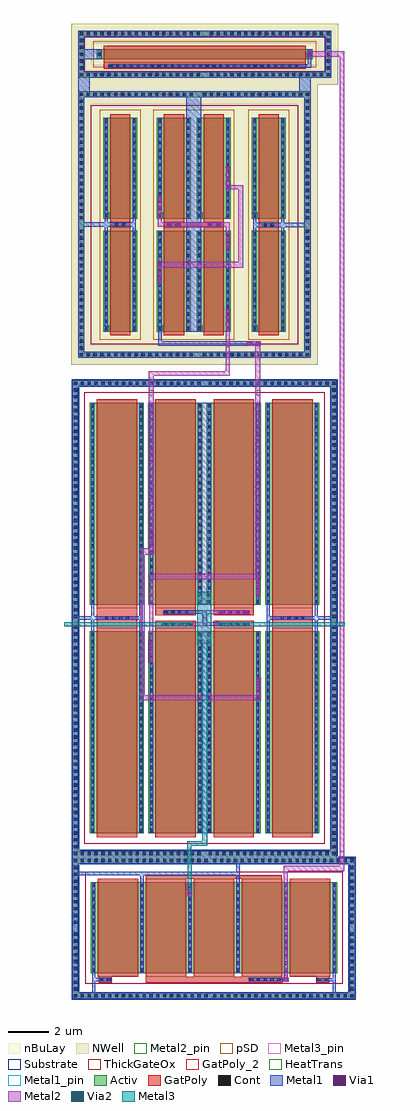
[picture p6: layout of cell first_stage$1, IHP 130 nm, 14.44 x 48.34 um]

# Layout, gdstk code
from math import pi, radians
import gdstk
lib = gdstk.Library(unit=1e-6, precision=1e-09)
def R(c, l, rs):  # rectangles x0, y0, x1, y1
    for r in rs: c.add(gdstk.rectangle(r[:2], r[2:], *l))
def A(c, l, x, y, w, h, nx, ny, dx, dy):  # array of equal rectangles
    R(c, l, [(x+i*dx, y+j*dy, x+i*dx+w, y+j*dy+h) for i in range(nx) for j in range(ny)])
def P(c, l, *ps):  # polygons
    for p in ps: c.add(gdstk.Polygon(p, *l))
Activ = (1, 0)
GatPoly = (5, 0)
GatPoly_2 = (5, 2)
Cont = (6, 0)
Metal1 = (8, 0)
Metal1_pin = (8, 2)
Metal2 = (10, 0)
Metal2_pin = (10, 2)
pSD = (14, 0)
Via1 = (19, 0)
Via2 = (29, 0)
Metal3 = (30, 0)
Metal3_pin = (30, 2)
NWell = (31, 0)
nBuLay = (32, 0)
Substrate = (40, 0)
ThickGateOx = (44, 0)
HeatTrans = (51, 0)

pmoshv_15 = lib.new_cell('pmosHV$15')
R(pmoshv_15, Activ, [(0,0,0.3,0.3), (0,0,1.68,5), (1.38,0,1.68,0.3)])
R(pmoshv_15, GatPoly, [(0.34,-0.18,1.34,5.18)])
R(pmoshv_15, GatPoly_2, [(0.34,-0.18,1.34,5.18)])
A(pmoshv_15, Cont, 0.07, 0.07, 0.16, 0.16, 1, 4, 0, 0.36)
A(pmoshv_15, Cont, 1.45, 0.07, 0.16, 0.16, 1, 4, 0, 0.36)
A(pmoshv_15, Cont, 0.07, 1.515, 0.16, 0.16, 1, 3, 0, 0.36)
A(pmoshv_15, Cont, 1.45, 1.515, 0.16, 0.16, 1, 3, 0, 0.36)
A(pmoshv_15, Cont, 0.07, 2.6, 0.16, 0.16, 1, 3, 0, 0.36)
A(pmoshv_15, Cont, 1.45, 2.6, 0.16, 0.16, 1, 3, 0, 0.36)
A(pmoshv_15, Cont, 0.07, 3.685, 0.16, 0.16, 1, 3, 0, 0.36)
A(pmoshv_15, Cont, 1.45, 3.685, 0.16, 0.16, 1, 3, 0, 0.36)
R(pmoshv_15, Cont, [(0.07,4.77,0.23,4.93), (1.45,4.77,1.61,4.93)])
R(pmoshv_15, Metal1, [(0.07,0,0.23,5), (1.45,0,1.61,5)])
R(pmoshv_15, Metal1_pin, [(0.07,0,0.23,5), (1.45,0,1.61,5)])
R(pmoshv_15, pSD, [(-0.18,-0.4,1.86,5.4)])
R(pmoshv_15, NWell, [(-0.62,-0.62,2.3,5.62)])
R(pmoshv_15, Substrate, [(1.38,0,1.68,0.3)])
R(pmoshv_15, ThickGateOx, [(-0.62,-0.62,2.3,5.62)])
R(pmoshv_15, HeatTrans, [(0.34,-0.18,1.34,5.18)])
pmoshv_15.add(gdstk.Label('pmosHV', (0.84,2.5), layer=63, texttype=0))
pmoshv_15.add(gdstk.Label('pmos', (0.84,2.5), layer=51, texttype=0))

via_stack_47 = lib.new_cell('via_stack$47')
R(via_stack_47, Metal1, [(-0.105,-0.555,0.105,0.555)])
R(via_stack_47, Metal2, [(-0.1,-0.555,0.1,0.555)])
A(via_stack_47, Via1, -0.095, -0.505, 0.19, 0.19, 1, 3, 0, 0.41)

via_stack_37 = lib.new_cell('via_stack$37')
R(via_stack_37, Metal1, [(-0.105,-0.35,0.105,0.35)])
R(via_stack_37, Metal2, [(-0.1,-0.35,0.1,0.35)])
R(via_stack_37, Via1, [(-0.095,-0.3,0.095,-0.11), (-0.095,0.11,0.095,0.3)])

via_stack_67 = lib.new_cell('via_stack$67')
R(via_stack_67, GatPoly, [(-0.32,-0.15,0.32,0.15)])
R(via_stack_67, Cont, [(-0.25,-0.08,-0.09,0.08), (0.09,-0.08,0.25,0.08)])
R(via_stack_67, Metal1, [(-0.35,-0.105,0.35,0.105)])
R(via_stack_67, Metal2, [(-0.35,-0.1,0.35,0.1)])
R(via_stack_67, Via1, [(-0.3,-0.095,-0.11,0.095), (0.11,-0.095,0.3,0.095)])

guard_ring_10 = lib.new_cell('guard_ring$10')
R(guard_ring_10, Activ, [(-5.75,-6.3,-5.45,6.3), (5.45,-6.3,5.75,6.3), (-5.75,6.3,5.75,6.6)])
P(guard_ring_10, Activ, [(-5.75,-6.6),(-5.75,6.3),(-5.45,6.3),(-5.45,-6.3),(5.45,-6.3),(5.45,6.3),(-5.75,6.3),(-5.75,6.6),(5.75,6.6),(5.75,-6.6)])
A(guard_ring_10, Cont, -5.68, -6.53, 0.16, 0.16, 16, 2, 0.34, 12.9)
A(guard_ring_10, Cont, 0.08, -6.53, 0.16, 0.16, 17, 2, 0.34, 12.9)
A(guard_ring_10, Cont, -5.68, -6.19, 0.16, 0.16, 1, 18, 0, 0.34)
A(guard_ring_10, Cont, 5.52, -6.19, 0.16, 0.16, 1, 18, 0, 0.34)
A(guard_ring_10, Cont, -5.68, 0.25, 0.16, 0.16, 1, 18, 0, 0.34)
A(guard_ring_10, Cont, 5.52, 0.25, 0.16, 0.16, 1, 18, 0, 0.34)
R(guard_ring_10, Metal1, [(-5.75,-6.6,5.75,-6.3), (-5.75,-6.3,-5.45,6.3), (5.45,-6.3,5.75,6.3), (-5.75,6.3,5.75,6.6)])
R(guard_ring_10, NWell, [(-6.1,-6.95,6.1,6.95)])
R(guard_ring_10, nBuLay, [(-6.1,-5.95,-5.1,5.95), (5.1,-5.95,6.1,5.95), (-6.1,5.95,6.1,6.95)])
P(guard_ring_10, nBuLay, [(-6.1,-6.95),(-6.1,5.95),(-5.1,5.95),(-5.1,-5.95),(5.1,-5.95),(5.1,5.95),(-6.1,5.95),(-6.1,6.95),(6.1,6.95),(6.1,-6.95)])
guard_ring_10.add(gdstk.Label('well', (0,-6.45), layer=63, texttype=0))

via_stack_68 = lib.new_cell('via_stack$68')
R(via_stack_68, GatPoly, [(-0.32,-0.15,0.32,0.15)])
R(via_stack_68, Cont, [(-0.25,-0.08,-0.09,0.08), (0.09,-0.08,0.25,0.08)])
R(via_stack_68, Metal1, [(-0.3,-0.08,0.3,0.08)])

current_mirror_1 = lib.new_cell('current_mirror$1')
R(current_mirror_1, GatPoly, [(-2.885,-0.54,-1.885,-0.315), (-0.225,-0.54,2.745,-0.315), (4.475,-0.54,5.475,-0.315)])
R(current_mirror_1, Metal1, [(0.885,-5.72,1.635,6.185), (-3.155,-0.72,-2.995,-0.135), (-1.775,-0.72,-1.615,-0.135), (4.205,-0.72,4.365,-0.135), (5.585,-0.72,5.745,-0.135), (4.205,-0.54,7.04,-0.32), (-4.46,-0.535,-1.615,-0.315)])
R(current_mirror_1, Metal2, [(2.845,-6.475,3.045,-4.575), (-0.535,-2.565,3.705,-2.255), (3.47,-2.565,3.705,1.53), (2.845,-1.62,3.045,-0.315), (-0.53,-0.535,3.045,-0.315), (-0.53,-0.535,-0.33,-0.13), (2.845,1.325,3.705,1.53)])
R(current_mirror_1, Metal2_pin, [(2.845,-6.475,3.045,-6.215)])
current_mirror_1.add(gdstk.Reference(pmoshv_15, (3.085,-0.135), rotation=pi, x_reflection=True))
current_mirror_1.add(gdstk.Reference(pmoshv_15, (1.115,-0.135), rotation=pi, x_reflection=True))
current_mirror_1.add(gdstk.Reference(pmoshv_15, (3.085,-5.72), rotation=pi, x_reflection=True))
current_mirror_1.add(gdstk.Reference(pmoshv_15, (1.115,-5.72), rotation=pi, x_reflection=True))
current_mirror_1.add(gdstk.Reference(via_stack_47, (-0.43,0.425), rotation=pi, x_reflection=True))
current_mirror_1.add(gdstk.Reference(via_stack_37, (2.945,-1.27), rotation=pi, x_reflection=True))
current_mirror_1.add(gdstk.Reference(via_stack_67, (2.27,-0.43), rotation=pi, x_reflection=True))
current_mirror_1.add(gdstk.Reference(via_stack_67, (0.26,-0.43), rotation=pi, x_reflection=True))
current_mirror_1.add(gdstk.Reference(via_stack_47, (-0.43,-2.81), rotation=pi, x_reflection=True))
current_mirror_1.add(gdstk.Reference(via_stack_47, (2.945,1.88), rotation=pi, x_reflection=True))
current_mirror_1.add(gdstk.Reference(guard_ring_10, (1.29,-0.415), rotation=pi, x_reflection=True))
current_mirror_1.add(gdstk.Reference(pmoshv_15, (-1.545,-0.135), rotation=pi, x_reflection=True))
current_mirror_1.add(gdstk.Reference(pmoshv_15, (5.815,-0.135), rotation=pi, x_reflection=True))
current_mirror_1.add(gdstk.Reference(pmoshv_15, (-1.545,-5.72), rotation=pi, x_reflection=True))
current_mirror_1.add(gdstk.Reference(pmoshv_15, (5.815,-5.72), rotation=pi, x_reflection=True))
current_mirror_1.add(gdstk.Reference(via_stack_68, (4.965,-0.43), rotation=pi, x_reflection=True))
current_mirror_1.add(gdstk.Reference(via_stack_68, (-2.395,-0.43), rotation=pi, x_reflection=True))
current_mirror_1.add(gdstk.Reference(via_stack_47, (2.945,-5.13), rotation=pi, x_reflection=True))
current_mirror_1.add(gdstk.Label('vdd', (1.025,6.115), layer=8, texttype=2))
current_mirror_1.add(gdstk.Label('dmv', (3.045,-6.475), layer=10, texttype=2))

via_stack_69 = lib.new_cell('via_stack$69')
R(via_stack_69, GatPoly, [(-0.15,-0.66,0.15,0.66)])
A(via_stack_69, Cont, -0.08, -0.59, 0.16, 0.16, 1, 4, 0, 0.34)
R(via_stack_69, Metal1, [(-0.105,-0.76,0.105,0.76)])
R(via_stack_69, Metal2, [(-0.1,-0.76,0.1,0.76)])
A(via_stack_69, Via1, -0.095, -0.71, 0.19, 0.19, 1, 4, 0, 0.41)
A(via_stack_69, Via2, -0.095, -0.71, 0.19, 0.19, 1, 4, 0, 0.41)
R(via_stack_69, Metal3, [(-0.1,-0.76,0.1,0.76)])

guard_ring_12 = lib.new_cell('guard_ring$12')
R(guard_ring_12, Activ, [(-6.55,-11.5,-6.25,11.5), (6.25,-11.5,6.55,11.5), (-6.55,11.5,6.55,11.8)])
P(guard_ring_12, Activ, [(-6.55,-11.8),(-6.55,11.5),(-6.25,11.5),(-6.25,-11.5),(6.25,-11.5),(6.25,11.5),(-6.55,11.5),(-6.55,11.8),(6.55,11.8),(6.55,-11.8)])
A(guard_ring_12, Cont, -6.48, -11.73, 0.16, 0.16, 19, 2, 0.34, 23.3)
A(guard_ring_12, Cont, 0.2, -11.73, 0.16, 0.16, 19, 2, 0.34, 23.3)
A(guard_ring_12, Cont, -6.48, -11.39, 0.16, 0.16, 1, 33, 0, 0.34)
A(guard_ring_12, Cont, 6.32, -11.39, 0.16, 0.16, 1, 33, 0, 0.34)
A(guard_ring_12, Cont, -6.48, 0.01, 0.16, 0.16, 1, 34, 0, 0.34)
A(guard_ring_12, Cont, 6.32, 0.01, 0.16, 0.16, 1, 34, 0, 0.34)
R(guard_ring_12, Metal1, [(-6.55,-11.8,6.55,-11.5), (-6.55,-11.5,-6.25,11.5), (6.25,-11.5,6.55,11.5), (-6.55,11.5,6.55,11.8)])
R(guard_ring_12, pSD, [(-6.58,-11.47,-6.22,11.47), (6.22,-11.47,6.58,11.47), (-6.58,11.47,6.58,11.83)])
P(guard_ring_12, pSD, [(-6.58,-11.83),(-6.58,11.47),(-6.22,11.47),(-6.22,-11.47),(6.22,-11.47),(6.22,11.47),(-6.58,11.47),(-6.58,11.83),(6.58,11.83),(6.58,-11.83)])
R(guard_ring_12, Substrate, [(-6.58,-11.47,-6.22,11.47), (6.22,-11.47,6.58,11.47), (-6.58,11.47,6.58,11.83)])
P(guard_ring_12, Substrate, [(-6.58,-11.83),(-6.58,11.47),(-6.22,11.47),(-6.22,-11.47),(6.22,-11.47),(6.22,11.47),(-6.58,11.47),(-6.58,11.83),(6.58,11.83),(6.58,-11.83)])
guard_ring_12.add(gdstk.Label('sub!', (0,-11.65), layer=63, texttype=0))

via_stack_70 = lib.new_cell('via_stack$70')
R(via_stack_70, GatPoly, [(-0.66,-0.15,0.66,0.15)])
A(via_stack_70, Cont, -0.59, -0.08, 0.16, 0.16, 4, 1, 0.34, 0)
R(via_stack_70, Metal1, [(-0.64,-0.08,0.64,0.08)])

nmoshv_9 = lib.new_cell('nmosHV$9')
R(nmoshv_9, Activ, [(0,0,0.3,0.3), (0,0,2.68,10), (2.38,0,2.68,0.3)])
R(nmoshv_9, GatPoly, [(0.34,-0.18,2.34,10.18)])
R(nmoshv_9, GatPoly_2, [(0.34,-0.18,2.34,10.18)])
A(nmoshv_9, Cont, 0.07, 0.07, 0.16, 0.16, 1, 4, 0, 0.345)
A(nmoshv_9, Cont, 2.45, 0.07, 0.16, 0.16, 1, 4, 0, 0.345)
A(nmoshv_9, Cont, 0.07, 1.455, 0.16, 0.16, 1, 3, 0, 0.345)
A(nmoshv_9, Cont, 2.45, 1.455, 0.16, 0.16, 1, 3, 0, 0.345)
A(nmoshv_9, Cont, 0.07, 2.495, 0.16, 0.16, 1, 4, 0, 0.345)
A(nmoshv_9, Cont, 2.45, 2.495, 0.16, 0.16, 1, 4, 0, 0.345)
A(nmoshv_9, Cont, 0.07, 3.88, 0.16, 0.16, 1, 3, 0, 0.345)
A(nmoshv_9, Cont, 2.45, 3.88, 0.16, 0.16, 1, 3, 0, 0.345)
A(nmoshv_9, Cont, 0.07, 4.92, 0.16, 0.16, 1, 4, 0, 0.345)
A(nmoshv_9, Cont, 2.45, 4.92, 0.16, 0.16, 1, 4, 0, 0.345)
A(nmoshv_9, Cont, 0.07, 6.305, 0.16, 0.16, 1, 3, 0, 0.345)
A(nmoshv_9, Cont, 2.45, 6.305, 0.16, 0.16, 1, 3, 0, 0.345)
A(nmoshv_9, Cont, 0.07, 7.345, 0.16, 0.16, 1, 4, 0, 0.345)
A(nmoshv_9, Cont, 2.45, 7.345, 0.16, 0.16, 1, 4, 0, 0.345)
A(nmoshv_9, Cont, 0.07, 8.73, 0.16, 0.16, 1, 3, 0, 0.345)
A(nmoshv_9, Cont, 2.45, 8.73, 0.16, 0.16, 1, 3, 0, 0.345)
R(nmoshv_9, Cont, [(0.07,9.77,0.23,9.93), (2.45,9.77,2.61,9.93)])
R(nmoshv_9, Metal1, [(0.07,0,0.23,10), (2.45,0,2.61,10)])
R(nmoshv_9, Metal1_pin, [(0.07,0,0.23,10), (2.45,0,2.61,10)])
R(nmoshv_9, ThickGateOx, [(-0.27,-0.52,2.95,10.52)])
R(nmoshv_9, HeatTrans, [(0.34,-0.18,2.34,10.18)])
nmoshv_9.add(gdstk.Label('nmosHV', (1.34,5), layer=63, texttype=0))
nmoshv_9.add(gdstk.Label('nmosHV', (1.34,5), layer=51, texttype=0))

via_stack_71 = lib.new_cell('via_stack$71')
R(via_stack_71, Metal1, [(-0.35,-0.31,0.35,0.31)])
R(via_stack_71, Metal2, [(-0.35,-0.305,0.35,0.305)])
R(via_stack_71, Via1, [(-0.3,-0.3,-0.11,-0.11), (0.11,-0.3,0.3,-0.11), (-0.3,0.11,-0.11,0.3), (0.11,0.11,0.3,0.3)])
R(via_stack_71, Via2, [(-0.3,-0.3,-0.11,-0.11), (0.11,-0.3,0.3,-0.11), (-0.3,0.11,-0.11,0.3), (0.11,0.11,0.3,0.3)])
R(via_stack_71, Metal3, [(-0.35,-0.305,0.35,0.305)])

via_stack_72 = lib.new_cell('via_stack$72')
R(via_stack_72, GatPoly, [(-0.66,-0.15,0.66,0.15)])
A(via_stack_72, Cont, -0.59, -0.08, 0.16, 0.16, 4, 1, 0.34, 0)
R(via_stack_72, Metal1, [(-0.76,-0.105,0.76,0.105)])
R(via_stack_72, Metal2, [(-0.76,-0.1,0.76,0.1)])
A(via_stack_72, Via1, -0.71, -0.095, 0.19, 0.19, 4, 1, 0.41, 0)
A(via_stack_72, Via2, -0.71, -0.095, 0.19, 0.19, 4, 1, 0.41, 0)
R(via_stack_72, Metal3, [(-0.76,-0.1,0.76,0.1)])

via_stack_73 = lib.new_cell('via_stack$73')
R(via_stack_73, GatPoly, [(-0.15,-0.66,0.15,0.66)])
A(via_stack_73, Cont, -0.08, -0.59, 0.16, 0.16, 1, 4, 0, 0.34)
R(via_stack_73, Metal1, [(-0.105,-0.76,0.105,0.76)])
R(via_stack_73, Metal2, [(-0.1,-0.76,0.1,0.76)])
A(via_stack_73, Via1, -0.095, -0.71, 0.19, 0.19, 1, 4, 0, 0.41)

via_stack_74 = lib.new_cell('via_stack$74')
R(via_stack_74, GatPoly, [(-0.15,-0.66,0.15,0.66)])
A(via_stack_74, Cont, -0.08, -0.59, 0.16, 0.16, 1, 4, 0, 0.34)
R(via_stack_74, Metal1, [(-0.08,-0.64,0.08,0.64)])

diff_pairs_1 = lib.new_cell('diff_pairs$1')
R(diff_pairs_1, GatPoly, [(-1.775,10.885,0.225,11.85), (1.125,10.885,3.125,11.225), (4.015,10.885,6.015,11.225), (6.915,10.885,8.915,11.85), (4.015,10.9,6.015,11.24), (1.125,11.51,3.125,11.85), (4.01,11.51,6.01,11.85)])
R(diff_pairs_1, Metal1, [(3.235,0.705,3.905,10.705), (-2.045,10.705,-1.885,12.03), (0.335,10.705,0.495,12.03), (6.645,10.705,6.805,12.03), (9.025,10.705,9.185,12.03), (3.465,10.97,3.66,11.745), (1.36,10.995,3.66,11.155), (-2.935,11.295,-2.045,11.455), (-2.045,11.295,0.495,11.455), (6.645,11.295,7.265,11.455), (8.545,11.295,9.185,11.455), (9.185,11.295,10.065,11.455), (3.465,11.575,5.575,11.755), (3.235,12.03,3.905,22.03)])
R(diff_pairs_1, Metal2, [(0.81,7.31,1.03,7.545), (0.815,7.31,6.73,7.545), (6.53,7.31,6.73,14.82), (6.12,10.03,6.32,13.56), (3.445,10.97,5.685,11.17), (3.445,10.97,3.685,11.765), (1.34,11.565,3.685,11.765), (0.805,13.3,1.065,22.66), (0.805,13.3,6.32,13.56), (6.09,14.5,6.335,22.64), (6.12,14.5,6.73,14.82)])
R(diff_pairs_1, Metal2_pin, [(0.805,22.405,1.065,22.66), (6.09,22.405,6.335,22.64)])
R(diff_pairs_1, Metal3, [(3.235,10.09,3.935,12.665), (4.275,10.96,10.52,11.17), (-3.375,10.97,2.88,11.17)])
R(diff_pairs_1, Metal3_pin, [(3.4,10.715,3.73,10.915), (10.21,10.96,10.52,11.17), (-3.375,10.97,-3.09,11.17)])
R(diff_pairs_1, ThickGateOx, [(-2.385,10.55,9.525,12.26)])
diff_pairs_1.add(gdstk.Reference(via_stack_69, (2.12,11.07), rotation=pi/2))
diff_pairs_1.add(gdstk.Reference(guard_ring_12, (3.565,11.355)))
diff_pairs_1.add(gdstk.Reference(via_stack_70, (7.905,11.375)))
diff_pairs_1.add(gdstk.Reference(via_stack_70, (-0.785,11.375)))
diff_pairs_1.add(gdstk.Reference(nmoshv_9, (-2.115,0.705)))
diff_pairs_1.add(gdstk.Reference(nmoshv_9, (-2.115,12.03)))
diff_pairs_1.add(gdstk.Reference(nmoshv_9, (6.575,0.705)))
diff_pairs_1.add(gdstk.Reference(nmoshv_9, (6.575,12.025)))
diff_pairs_1.add(gdstk.Reference(nmoshv_9, (3.675,12.03)))
diff_pairs_1.add(gdstk.Reference(via_stack_47, (6.22,15.055)))
diff_pairs_1.add(gdstk.Reference(via_stack_47, (0.915,7.865)))
diff_pairs_1.add(gdstk.Reference(via_stack_47, (6.22,9.705)))
diff_pairs_1.add(gdstk.Reference(via_stack_47, (0.935,13.03)))
diff_pairs_1.add(gdstk.Reference(via_stack_71, (3.585,10.395)))
diff_pairs_1.add(gdstk.Reference(via_stack_71, (3.585,12.36)))
diff_pairs_1.add(gdstk.Reference(via_stack_72, (4.925,11.065), rotation=pi))
diff_pairs_1.add(gdstk.Reference(nmoshv_9, (0.785,0.705)))
diff_pairs_1.add(gdstk.Reference(nmoshv_9, (3.675,0.705)))
diff_pairs_1.add(gdstk.Reference(nmoshv_9, (0.785,12.03)))
diff_pairs_1.add(gdstk.Reference(via_stack_73, (2.12,11.66), rotation=pi/2))
diff_pairs_1.add(gdstk.Reference(via_stack_74, (4.97,11.66), rotation=pi/2))
diff_pairs_1.add(gdstk.Label('vss', (3.925,23.09), layer=8, texttype=2))
diff_pairs_1.add(gdstk.Label('dmr', (0.88,22.66), layer=10, texttype=2))
diff_pairs_1.add(gdstk.Label('dmv', (6.21,22.64), layer=10, texttype=2))
diff_pairs_1.add(gdstk.Label('VBG', (10.425,11.055), layer=30, texttype=2))
diff_pairs_1.add(gdstk.Label('vn1v2', (-3.315,11.02), layer=30, texttype=2))
diff_pairs_1.add(gdstk.Label('d_t', (3.46,10.915), layer=30, texttype=2))

via_stack_52 = lib.new_cell('via_stack$52')
R(via_stack_52, Metal1, [(-0.145,-0.105,0.145,0.105)])
R(via_stack_52, Metal2, [(-0.145,-0.1,0.145,0.1)])
R(via_stack_52, Via1, [(-0.095,-0.095,0.095,0.095)])

guard_ring_13 = lib.new_cell('guard_ring$13')
R(guard_ring_13, Activ, [(-7,-3.2,-6.7,3.2), (6.7,-3.2,7,3.2), (-7,3.2,7,3.5)])
P(guard_ring_13, Activ, [(-7,-3.5),(-7,3.2),(-6.7,3.2),(-6.7,-3.2),(6.7,-3.2),(6.7,3.2),(-7,3.2),(-7,3.5),(7,3.5),(7,-3.5)])
A(guard_ring_13, Cont, -6.93, -3.43, 0.16, 0.16, 20, 2, 0.34, 6.7)
A(guard_ring_13, Cont, -0.03, -3.43, 0.16, 0.16, 21, 2, 0.34, 6.7)
A(guard_ring_13, Cont, -6.93, -3.09, 0.16, 0.16, 1, 9, 0, 0.34)
A(guard_ring_13, Cont, 6.77, -3.09, 0.16, 0.16, 1, 9, 0, 0.34)
A(guard_ring_13, Cont, -6.93, 0.21, 0.16, 0.16, 1, 9, 0, 0.34)
A(guard_ring_13, Cont, 6.77, 0.21, 0.16, 0.16, 1, 9, 0, 0.34)
R(guard_ring_13, Metal1, [(-7,-3.5,7,-3.2), (-7,-3.2,-6.7,3.2), (6.7,-3.2,7,3.2), (-7,3.2,7,3.5)])
R(guard_ring_13, pSD, [(-7.03,-3.17,-6.67,3.17), (6.67,-3.17,7.03,3.17), (-7.03,3.17,7.03,3.53)])
P(guard_ring_13, pSD, [(-7.03,-3.53),(-7.03,3.17),(-6.67,3.17),(-6.67,-3.17),(6.67,-3.17),(6.67,3.17),(-7.03,3.17),(-7.03,3.53),(7.03,3.53),(7.03,-3.53)])
R(guard_ring_13, Substrate, [(-7.03,-3.17,-6.67,3.17), (6.67,-3.17,7.03,3.17), (-7.03,3.17,7.03,3.53)])
P(guard_ring_13, Substrate, [(-7.03,-3.53),(-7.03,3.17),(-6.67,3.17),(-6.67,-3.17),(6.67,-3.17),(6.67,3.17),(-7.03,3.17),(-7.03,3.53),(7.03,3.53),(7.03,-3.53)])
guard_ring_13.add(gdstk.Label('sub!', (0,-3.35), layer=63, texttype=0))

via_stack_75 = lib.new_cell('via_stack$75')
R(via_stack_75, Metal1, [(-0.145,-0.105,0.145,0.105)])
R(via_stack_75, Metal2, [(-0.145,-0.1,0.145,0.1)])
R(via_stack_75, Via1, [(-0.095,-0.095,0.095,0.095)])
R(via_stack_75, Via2, [(-0.095,-0.095,0.095,0.095)])
R(via_stack_75, Metal3, [(-0.145,-0.1,0.145,0.1)])

via_stack_76 = lib.new_cell('via_stack$76')
R(via_stack_76, GatPoly, [(-0.83,-0.15,0.83,0.15)])
A(via_stack_76, Cont, -0.76, -0.08, 0.16, 0.16, 5, 1, 0.34, 0)
R(via_stack_76, Metal1, [(-0.81,-0.08,0.81,0.08)])

nmoshv_10 = lib.new_cell('nmosHV$10')
A(nmoshv_10, Activ, 0, 0, 0.3, 0.3, 6, 1, 2.38, 0)
R(nmoshv_10, Activ, [(0,0,12.2,4.5)])
A(nmoshv_10, GatPoly, 0.34, -0.18, 2, 4.86, 5, 1, 2.38, 0)
R(nmoshv_10, GatPoly_2, [(0.34,-0.18,2.34,4.68)])
A(nmoshv_10, Cont, 0.07, 0.07, 0.16, 0.16, 6, 13, 2.38, 0.35)
A(nmoshv_10, Metal1, 0.07, 0, 0.16, 4.5, 6, 1, 2.38, 0)
R(nmoshv_10, Metal1_pin, [(0.07,0,0.23,4.5), (2.45,0,2.61,4.5)])
R(nmoshv_10, ThickGateOx, [(-0.27,-0.52,12.47,5.02)])
A(nmoshv_10, HeatTrans, 0.34, -0.18, 2, 4.86, 5, 1, 2.38, 0)
nmoshv_10.add(gdstk.Label('nmosHV', (1.34,2.25), layer=63, texttype=0))
nmoshv_10.add(gdstk.Label('nmosHV', (1.34,2.25), layer=51, texttype=0))
nmoshv_10.add(gdstk.Label('nmosHV', (3.72,2.25), layer=51, texttype=0))
nmoshv_10.add(gdstk.Label('nmosHV', (6.1,2.25), layer=51, texttype=0))
nmoshv_10.add(gdstk.Label('nmosHV', (8.48,2.25), layer=51, texttype=0))
nmoshv_10.add(gdstk.Label('nmosHV', (10.86,2.25), layer=51, texttype=0))

bias_cur_1 = lib.new_cell('bias_cur$1')
R(bias_cur_1, GatPoly, [(3.235,-0.23,9.995,0.07), (11.68,0.04,12.32,0.09), (3.235,4.93,9.975,5.085)])
R(bias_cur_1, Metal1, [(0.585,-1.03,0.745,0.255), (12.485,-1.03,12.645,0.255), (10.105,-0.18,10.265,0.48), (12.3,-0.16,12.645,0), (0.585,-0.155,0.92,0.005), (9.955,-0.155,10.245,0.005), (7.725,4.675,7.885,5.26), (2.965,4.68,3.125,5.26), (-0.395,5.1,7.865,5.26), (7.72,5.26,7.885,5.97)])
R(bias_cur_1, Metal2, [(10.065,-0.185,10.265,5.56), (5.295,4.065,5.55,4.75), (10.065,5.29,12.855,5.56), (12.855,5.29,13.055,6.285)])
R(bias_cur_1, Metal2_pin, [(12.855,6.015,13.055,6.285)])
R(bias_cur_1, Metal3, [(5.325,4.375,5.525,6.3)])
R(bias_cur_1, Metal3_pin, [(5.325,6.015,5.525,6.3)])
bias_cur_1.add(gdstk.Reference(via_stack_52, (10.165,-0.08)))
bias_cur_1.add(gdstk.Reference(guard_ring_13, (6.605,2.47)))
bias_cur_1.add(gdstk.Reference(via_stack_75, (5.425,4.55), rotation=pi/2))
bias_cur_1.add(gdstk.Reference(via_stack_68, (12,-0.08)))
bias_cur_1.add(gdstk.Reference(via_stack_76, (9.15,-0.075)))
bias_cur_1.add(gdstk.Reference(via_stack_68, (1.22,-0.075)))
bias_cur_1.add(gdstk.Reference(nmoshv_10, (0.515,0.25)))
bias_cur_1.add(gdstk.Label('vss', (7.415,5.9), layer=8, texttype=2))
bias_cur_1.add(gdstk.Label('d_t', (5.325,6.015), layer=44, texttype=0))
bias_cur_1.add(gdstk.Label('i_ref', (13.055,6.29), layer=10, texttype=2))
bias_cur_1.add(gdstk.Label('d_t', (5.325,6.015), layer=30, texttype=2))

via_stack_77 = lib.new_cell('via_stack$77')
R(via_stack_77, GatPoly, [(-4.74,-0.15,4.74,0.15)])
A(via_stack_77, Cont, -4.67, -0.08, 0.16, 0.16, 28, 1, 0.34, 0)
R(via_stack_77, Metal1, [(-4.72,-0.08,4.72,0.08)])

pmoshv_16 = lib.new_cell('pmosHV$16')
R(pmoshv_16, Activ, [(-0.92,-0.62,-0.62,1.12), (11.3,-0.62,11.6,1.12), (0,0,0.3,0.3), (0,0,10.68,0.5), (10.38,0,10.68,0.3), (-0.92,1.12,11.6,1.42)])
P(pmoshv_16, Activ, [(-0.92,-0.92),(-0.92,1.12),(-0.62,1.12),(-0.62,-0.62),(11.3,-0.62),(11.3,1.12),(-0.92,1.12),(-0.92,1.42),(11.6,1.42),(11.6,-0.92)])
R(pmoshv_16, GatPoly, [(0.34,-0.18,10.34,0.68)])
R(pmoshv_16, GatPoly_2, [(0.34,-0.18,10.34,0.68)])
A(pmoshv_16, Cont, -0.85, -0.85, 0.16, 0.16, 18, 2, 0.34, 2.04)
A(pmoshv_16, Cont, 5.59, -0.85, 0.16, 0.16, 18, 2, 0.34, 2.04)
A(pmoshv_16, Cont, -0.85, -0.51, 0.16, 0.16, 1, 5, 0, 0.34)
A(pmoshv_16, Cont, 11.37, -0.51, 0.16, 0.16, 1, 5, 0, 0.34)
R(pmoshv_16, Cont, [(0.07,0.17,0.23,0.33), (10.45,0.17,10.61,0.33)])
R(pmoshv_16, Metal1, [(-0.92,-0.92,11.6,-0.62), (-0.92,-0.62,-0.62,1.12), (11.3,-0.62,11.6,1.12), (0.07,0,0.23,0.5), (10.45,0,10.61,0.5), (-0.92,1.12,11.6,1.42)])
R(pmoshv_16, Metal1_pin, [(0.07,0,0.23,0.5), (10.45,0,10.61,0.5)])
R(pmoshv_16, pSD, [(-0.18,-0.4,10.86,0.9)])
R(pmoshv_16, NWell, [(-1.27,-1.27,11.95,1.77), (-0.62,-0.62,11.3,1.12)])
R(pmoshv_16, nBuLay, [(-1.27,-0.27,-0.27,0.77), (10.95,-0.27,11.95,0.77), (-1.27,0.77,11.95,1.77)])
P(pmoshv_16, nBuLay, [(-1.27,-1.27),(-1.27,0.77),(-0.27,0.77),(-0.27,-0.27),(10.95,-0.27),(10.95,0.77),(-1.27,0.77),(-1.27,1.77),(11.95,1.77),(11.95,-1.27)])
R(pmoshv_16, Substrate, [(10.38,0,10.68,0.3)])
R(pmoshv_16, ThickGateOx, [(-0.62,-0.62,11.3,1.12)])
R(pmoshv_16, HeatTrans, [(0.34,-0.18,10.34,0.68)])
pmoshv_16.add(gdstk.Label('pmosHV', (5.34,0.25), layer=63, texttype=0))
pmoshv_16.add(gdstk.Label('well', (5.34,-0.77), layer=63, texttype=0))
pmoshv_16.add(gdstk.Label('pmos', (5.34,0.25), layer=51, texttype=0))

connected_diode_1 = lib.new_cell('connected_diode$1')
R(connected_diode_1, GatPoly, [(-0.21,-0.72,9.79,-0.42)])
R(connected_diode_1, Metal1, [(9.305,-0.65,10.06,-0.49), (9.9,-0.65,10.06,-0.24), (-1.47,-0.245,-0.32,0.26)])
connected_diode_1.add(gdstk.Reference(via_stack_77, (4.73,-0.57)))
connected_diode_1.add(gdstk.Reference(pmoshv_16, (-0.55,-0.24)))

first_stage_1 = lib.new_cell('first_stage$1')
R(first_stage_1, Activ, [(0.06,6.985,13.16,7.03)])
R(first_stage_1, Metal1, [(0.06,6.985,13.16,7.03), (4.315,32.34,9.39,32.55), (4.315,32.34,4.475,33.33), (11.285,44.635,11.85,45.83), (0.355,44.705,0.92,45.9)])
R(first_stage_1, Metal2, [(13.31,7.075,13.51,46.905), (3.84,29.87,4.085,30.835), (9.11,29.89,9.37,32.55), (3.84,30.835,7.855,31.06), (7.655,30.835,7.855,32.91), (11.725,46.64,13.48,46.905)])
R(first_stage_1, Metal3, [(5.75,7.075,5.95,7.78), (5.75,7.57,6.725,7.78), (6.48,7.57,6.725,17.76)])
first_stage_1.add(gdstk.Reference(current_mirror_1, (4.81,38.75)))
first_stage_1.add(gdstk.Reference(diff_pairs_1, (10.175,7.475), rotation=pi, x_reflection=True))
first_stage_1.add(gdstk.Reference(bias_cur_1, (0.455,1.015)))
first_stage_1.add(gdstk.Reference(connected_diode_1, (1.825,46.76)))
first_stage_1.add(gdstk.Reference(via_stack_52, (11.805,46.765), rotation=3*pi/2))
first_stage_1.add(gdstk.Reference(via_stack_37, (9.04,32.445), rotation=3*pi/2))

lib.write_gds('first_stage_1.gds')
